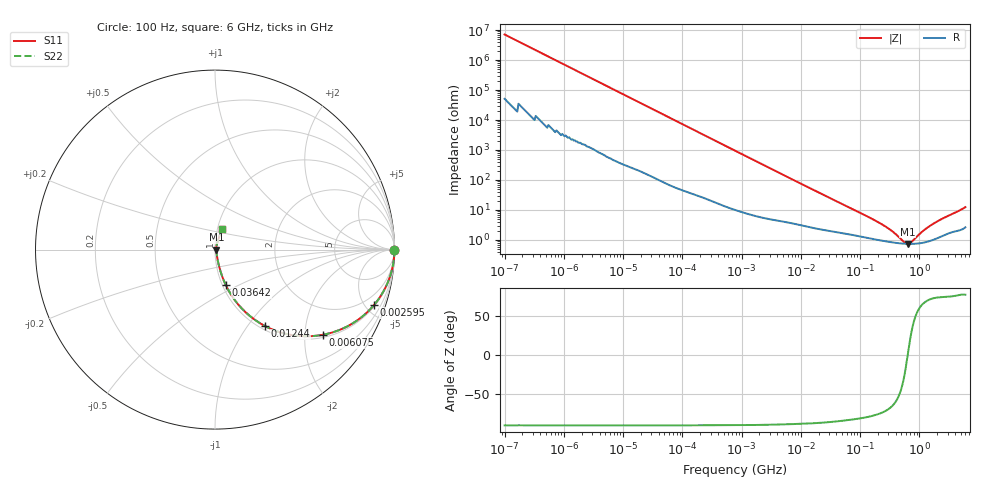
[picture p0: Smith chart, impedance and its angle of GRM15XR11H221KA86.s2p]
!Murata Part Number: GRM15XR11H221KA86
!These Parameters are Measured in Series Mode Connection
!Data Generated on Mar 30, 2021
!  o--ll--o
!Port1  Port2
!  o------o
!Operation Temp=25[degC], DC Bias Voltage=0[V]
!Freq. Start=100[Hz] Stop=6[GHz] 401[Steps]
# Hz S RI R 50
!Freq.(Hz) S11(Real) S11(Imag) S21(Real) S21(Imag) S12(Real) S12(Imag) S22(Real) S22(Imag)
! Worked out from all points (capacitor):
!   401 points, 100 Hz to 6 GHz, reference 50 ohm
!   read as one part in series: C = 222 pF near 109 Hz
!   lowest |Z| = 737 mohm at 639.6 MHz (marker M1)
!   series resonance near 636.2 MHz, so ESL is about 280 pH
!   S11 on the Smith chart (normalised r, x): 100 Hz: open; 2.595 MHz: 1.10, -5.71; 6.075 MHz: 1.08, -2.46; 12.44 MHz: 1.06, -1.22; 36.42 MHz: 1.04, -0.42; 6 GHz: 1.05, +0.24
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100  1 -1.4e-05  1e-07 1.4e-05  1e-07 1.4e-05  1 -1.4e-05
686  1 -9.53e-05  4e-07 9.53e-05  4e-07 9.53e-05  1 -9.53e-05
2008  1 -0.000278  1.3e-06 0.000278  1.3e-06 0.000278  1 -0.000278
40335  0.9999 -0.00554  6.1e-05 0.00554  6.1e-05 0.00554  0.9999 -0.00554
241822  0.9986 -0.033  0.00135 0.033  0.00135 0.033  0.9986 -0.033
774597  0.988 -0.1038  0.012 0.1038  0.012 0.1038  0.988 -0.1038
1585629  0.9534 -0.2038  0.0466 0.2038  0.0466 0.2038  0.9534 -0.2038
2594782  0.8865 -0.3082  0.1135 0.3082  0.1135 0.3082  0.8865 -0.3082
3882480  0.7806 -0.4024  0.2194 0.4024  0.2194 0.4024  0.7806 -0.4024
6075234  0.5995 -0.4748  0.4005 0.4748  0.4005 0.4748  0.5995 -0.4748
8692127  0.4309 -0.4765  0.5691 0.4765  0.5691 0.4765  0.4309 -0.4765
1.243624e7  0.2796 -0.4264  0.7204 0.4264  0.7204 0.4264  0.2796 -0.4264
1.555665e7  0.2051 -0.3786  0.7949 0.3786  0.7949 0.3786  0.2051 -0.3786
3.64232e7  0.0594 -0.1961  0.9406 0.1961  0.9406 0.1961  0.0594 -0.1961
1.526266e8  0.0135 -0.0504  0.9865 0.0504  0.9865 0.0504  0.0135 -0.0504
3.124326e8  0.00895 -0.0209  0.9911 0.0209  0.9911 0.0209  0.00895 -0.0209
5.59173e8  0.00742 -0.00362  0.9926 0.00362  0.9926 0.00362  0.00742 -0.00362
6.395615e8  0.00732 0.000153  0.9927 -0.000153  0.9927 -0.000153  0.00732 0.000153
7.31507e8  0.00732 0.00396  0.9927 -0.00396  0.9927 -0.00396  0.00732 0.00396
1.144649e9  0.00827 0.0176  0.9917 -0.0176  0.9917 -0.0176  0.00827 0.0176
1.712697e9  0.011 0.0323  0.989 -0.0323  0.989 -0.0323  0.011 0.0323
6e9  0.0391 0.1135  0.9609 -0.1135  0.9609 -0.1135  0.0391 0.1135
